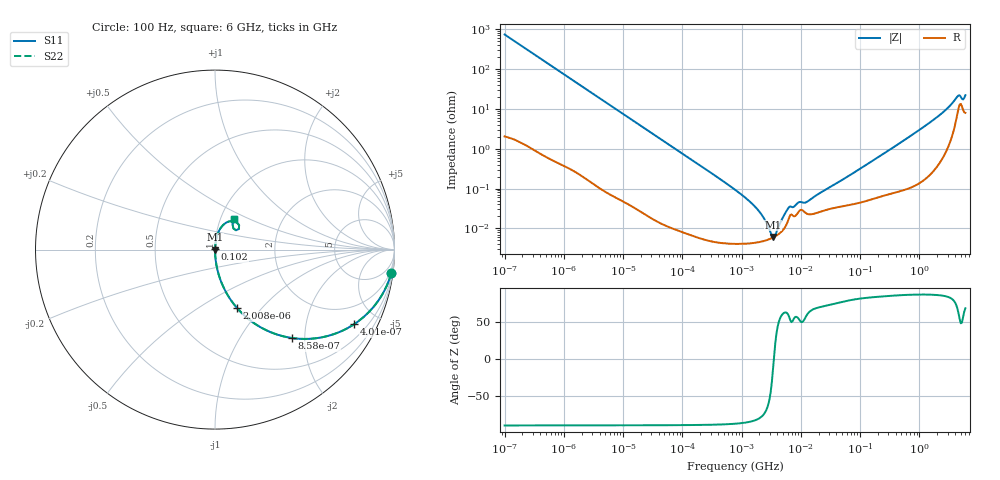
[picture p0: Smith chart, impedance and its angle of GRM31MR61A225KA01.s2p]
!Murata Part Number: GRM31MR61A225KA01
!These Parameters are Measured in Series Mode Connection
!Data Generated on Mar 30, 2021
!  o--ll--o
!Port1  Port2
!  o------o
!Operation Temp=25[degC], DC Bias Voltage=0[V]
!Freq. Start=100[Hz] Stop=6[GHz] 401[Steps]
# Hz S RI R 50
!Freq.(Hz) S11(Real) S11(Imag) S21(Real) S21(Imag) S12(Real) S12(Imag) S22(Real) S22(Imag)
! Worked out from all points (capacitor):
!   401 points, 100 Hz to 6 GHz, reference 50 ohm
!   read as one part in series: C = 2.15 uF near 109 Hz
!   lowest |Z| = 6.04 mohm at 3.394 MHz (marker M1)
!   series resonance near 3.507 MHz, so ESL is about 960 pH
!   S11 on the Smith chart (normalised r, x): 100 Hz: 1, -15; 401 Hz: 1.01, -3.71; 858 Hz: 1.01, -1.73; 2.008 kHz: 1.00, -0.74; 102 MHz: 1.00, +0.01; 6 GHz: 1.16, +0.41
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100  0.9817 -0.1327  0.0183 0.1327  0.0183 0.1327  0.9817 -0.1327
224  0.9156 -0.2762  0.0844 0.2762  0.0844 0.2762  0.9156 -0.2762
401  0.7735 -0.4166  0.2265 0.4166  0.2265 0.4166  0.7735 -0.4166
858  0.4296 -0.4926  0.5704 0.4926  0.5704 0.4926  0.4296 -0.4926
2008  0.1227 -0.3253  0.8773 0.3253  0.8773 0.3253  0.1227 -0.3253
7036  0.0118 -0.1052  0.9882 0.1052  0.9882 0.1052  0.0118 -0.1052
40335  0.000489 -0.0187  0.9995 0.0187  0.9995 0.0187  0.000489 -0.0187
774597  4.15e-05 -0.000935  1 0.000935  1 0.000935  4.15e-05 -0.000935
1585629  4.29e-05 -0.000383  1 0.000383  1 0.000383  4.29e-05 -0.000383
2169299  4.64e-05 -0.000218  1 0.000218  1 0.000218  4.64e-05 -0.000218
2837864  5.23e-05 -9.35e-05  0.9999 9.35e-05  0.9999 9.35e-05  5.23e-05 -9.35e-05
3394479  5.87e-05 -1.43e-05  0.9999 1.43e-05  0.9999 1.43e-05  5.87e-05 -1.43e-05
4246196  7.21e-05 8.66e-05  0.9999 -8.66e-05  0.9999 -8.66e-05  7.21e-05 8.66e-05
6353432  0.000185 0.000288  0.9998 -0.000288  0.9998 -0.000288  0.000185 0.000288
1.243624e7  0.000236 0.000389  0.9998 -0.000389  0.9998 -0.000389  0.000236 0.000389
1.555665e7  0.000227 0.000527  0.9998 -0.000527  0.9998 -0.000527  0.000227 0.000527
1.020051e8  0.000455 0.00316  0.9995 -0.00316  0.9995 -0.00316  0.000455 0.00316
3.124326e8  0.000807 0.00926  0.9992 -0.00926  0.9992 -0.00926  0.000807 0.00926
1.873145e9  0.00643 0.0572  0.9936 -0.0572  0.9936 -0.0572  0.00643 0.0572
3.352442e9  0.0294 0.1171  0.9706 -0.1171  0.9706 -0.1171  0.0294 0.1171
4.385646e9  0.0967 0.1597  0.9033 -0.1597  0.9033 -0.1597  0.0967 0.1597
6e9  0.106 0.17  0.894 -0.17  0.894 -0.17  0.106 0.17
